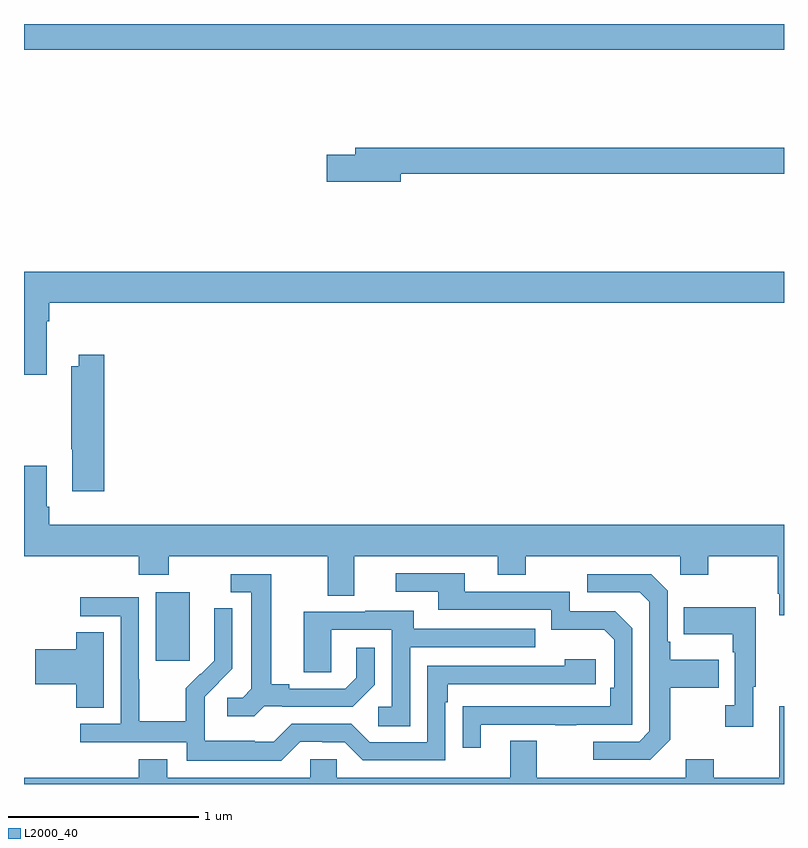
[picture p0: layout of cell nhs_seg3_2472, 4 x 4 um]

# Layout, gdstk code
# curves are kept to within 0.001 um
import gdstk
lib = gdstk.Library(unit=1e-6, precision=1e-09)
def R(c, l, rs):  # rectangles x0, y0, x1, y1
    for r in rs: c.add(gdstk.rectangle(r[:2], r[2:], *l))
def P(c, l, *ps):  # polygons
    for p in ps: c.add(gdstk.Polygon(p, *l))
L2000_40 = (2000, 40)

nhs_seg3_2472 = lib.new_cell('nhs_seg3_2472')
R(nhs_seg3_2472, L2000_40, [(239.693,683.049,239.872,683.41), (239,686.264,243,686.4)])
P(nhs_seg3_2472, L2000_40, [(240.982,685.612),(243,685.612),(243,685.748),(240.743,685.748),(240.743,685.712),(240.594,685.712),(240.594,685.57),(240.982,685.57)],
  [(239.119,684.836),(239.132,684.836),(239.132,684.932),(243,684.932),(243,685.096),(239,685.096),(239,684.555),(239.119,684.555)],
  [(239.423,684.658),(239.288,684.658),(239.288,684.598),(239.248,684.598),(239.248,684.163),(239.255,684.163),(239.255,683.94),(239.423,683.94)],
  [(243,683.764),(239.132,683.764),(239.132,683.86),(239.119,683.86),(239.119,684.076),(239,684.076),(239,683.6),(239.603,683.6),(239.603,683.501),(239.763,683.501),(239.763,683.6),(240.599,683.6),(240.599,683.392),(240.739,683.392),(240.739,683.6),(241.493,683.6),(241.493,683.501),(241.641,683.501),(241.641,683.6),(242.454,683.6),(242.454,683.501),(242.601,683.501),(242.601,683.6),(242.968,683.6),(242.968,683.401),(242.975,683.401),(242.975,683.289),(243,683.289)],
  [(241.405,682.713),(241.795,682.713),(241.795,682.708),(241.907,682.708),(241.907,682.713),(242.202,682.713),(242.202,683.22),(242.112,683.31),(241.872,683.31),(241.872,683.412),(241.321,683.412),(241.321,683.508),(240.957,683.508),(240.957,683.412),(241.181,683.412),(241.181,683.316),(241.776,683.316),(241.776,683.213),(242.053,683.213),(242.106,683.16),(242.106,682.906),(242.086,682.906),(242.086,682.809),(241.309,682.808),(241.309,682.59),(241.405,682.59)],
  [(242.401,682.633),(242.401,682.906),(242.657,682.906),(242.657,683.053),(242.401,683.053),(242.401,683.149),(242.388,683.149),(242.388,683.418),(242.301,683.505),(241.965,683.505),(241.965,683.409),(242.241,683.409),(242.292,683.358),(242.292,682.677),(242.238,682.623),(241.995,682.623),(241.995,682.527),(242.295,682.527)],
  [(240.264,682.809),(240.358,682.809),(240.358,682.806),(240.73,682.806),(240.846,682.922),(240.846,683.116),(240.749,683.116),(240.749,682.959),(240.692,682.902),(240.397,682.902),(240.397,682.925),(240.301,682.925),(240.301,683.505),(240.087,683.505),(240.087,683.409),(240.197,683.409),(240.197,682.901),(240.15,682.854),(240.069,682.854),(240.069,682.757),(240.212,682.757)],
  [(240.453,682.623),(240.569,682.623),(240.569,682.62),(240.687,682.62),(240.783,682.524),(241.218,682.524),(241.218,682.829),(241.231,682.829),(241.231,682.926),(242.008,682.926),(242.008,683.056),(241.847,683.056),(241.847,683.022),(241.122,683.022),(241.122,682.62),(240.819,682.62),(240.723,682.716),(240.408,682.716),(240.315,682.623),(240.215,682.623),(240.215,682.627),(239.952,682.627),(239.952,682.761),(239.95,682.761),(239.95,682.858),(240.096,683.006),(240.096,683.324),(240,683.324),(240,683.17),(240.002,683.17),(240.002,683.048),(239.931,682.977),(239.928,682.98),(239.851,682.903),(239.851,682.729),(239.607,682.729),(239.607,682.952),(239.604,682.952),(239.604,683.382),(239.295,683.382),(239.295,683.283),(239.508,683.283),(239.508,682.716),(239.295,682.716),(239.295,682.62),(239.856,682.62),(239.856,682.523),(240.353,682.523)],
  [(242.839,682.913),(242.851,682.913),(242.851,683.329),(242.473,683.329),(242.473,683.189),(242.73,683.189),(242.73,683.093),(242.742,683.093),(242.742,682.814),(242.691,682.814),(242.691,682.701),(242.839,682.701)],
  [(241.032,683.121),(241.691,683.121),(241.691,683.217),(241.051,683.217),(241.051,683.311),(240.797,683.311),(240.797,683.307),(240.473,683.307),(240.473,682.987),(240.618,682.987),(240.618,683.211),(240.936,683.211),(240.936,682.806),(240.864,682.806),(240.864,682.705),(241.032,682.705)],
  [(239.419,683.198),(239.276,683.198),(239.276,683.108),(239.058,683.108),(239.058,682.925),(239.276,682.925),(239.276,682.801),(239.419,682.801)],
  [(243,682.81),(242.975,682.81),(242.975,682.432),(242.631,682.432),(242.631,682.531),(242.483,682.531),(242.483,682.432),(241.699,682.432),(241.699,682.627),(241.559,682.627),(241.559,682.432),(240.645,682.432),(240.645,682.53),(240.507,682.53),(240.507,682.432),(239.755,682.432),(239.755,682.531),(239.603,682.531),(239.603,682.432),(239,682.432),(239,682.4),(243,682.4)])

lib.write_gds('nhs_seg3_2472.gds')
